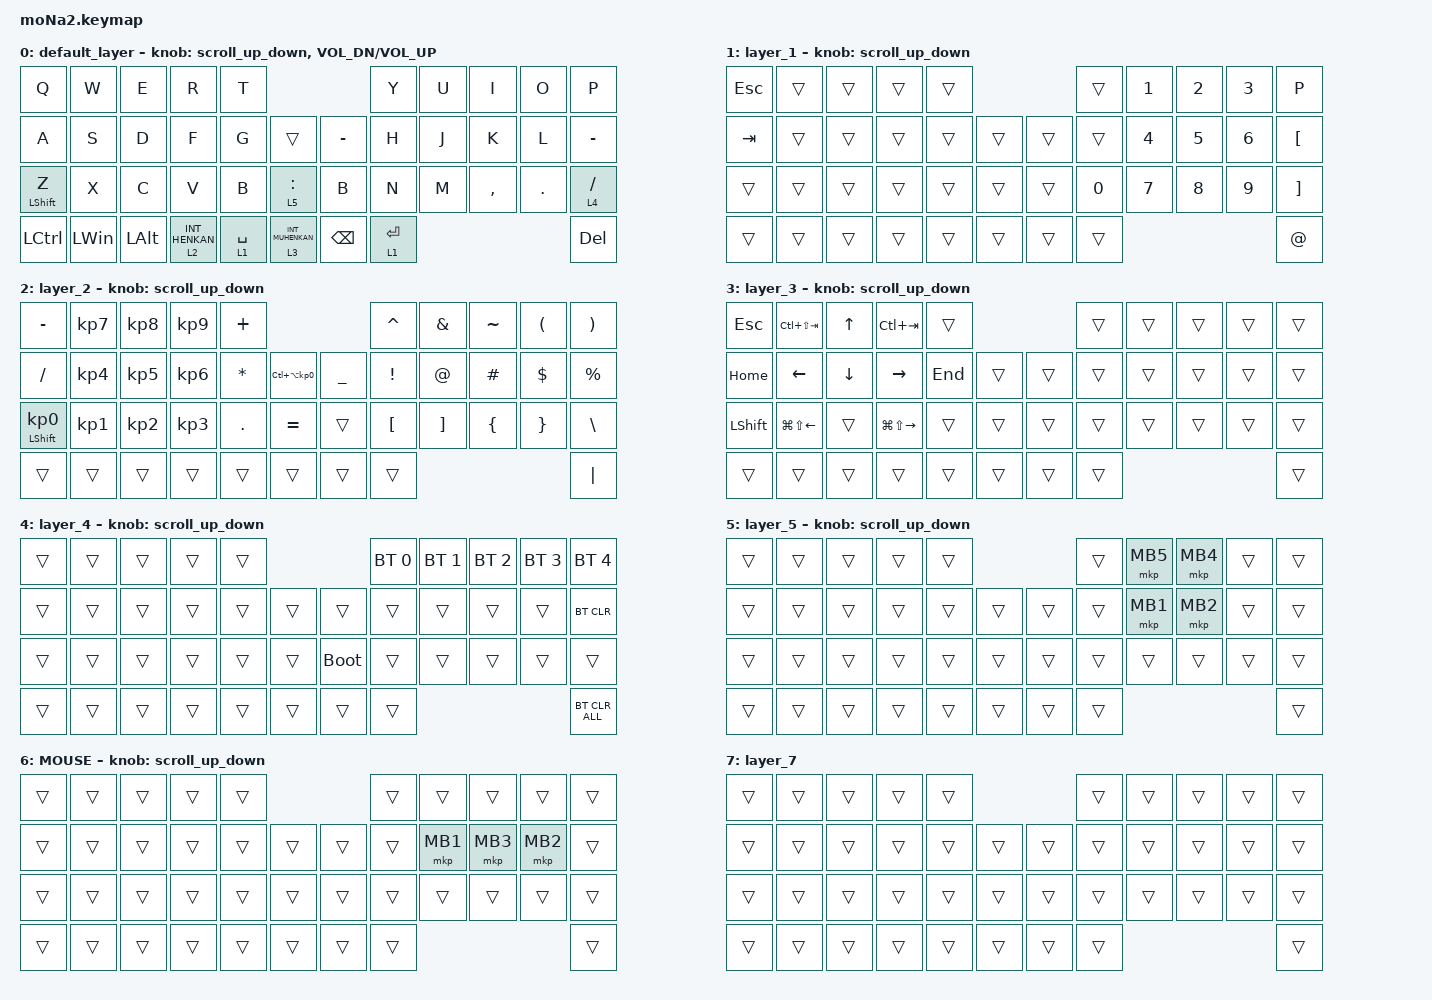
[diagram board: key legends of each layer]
#include <behaviors.dtsi>
#include <dt-bindings/zmk/bt.h>
#include <dt-bindings/zmk/keys.h>
#include <dt-bindings/zmk/pointing.h>

#define ZMK_POINTING_DEFAULT_SCRL_VAL 100
#define MOUSE 6

&mt {
    flavor = "balanced";
    quick-tap-ms = <0>;
};

/ {
    combos { compatible = "zmk,combos"; };

    macros {
        to_layer_0: to_layer_0 {
            compatible = "zmk,behavior-macro-one-param";
            #binding-cells = <1>;
            bindings = <&to 0 &macro_param_1to1 &kp MACRO_PLACEHOLDER>;
            label = "TO_LAYER_0";
        };

        atmark: atmark {
            compatible = "zmk,behavior-macro";
            #binding-cells = <0>;
            bindings = <&kp LANGUAGE_2 &kp AT>;
            label = "ATMARK";
        };

        kagikakko: kagikakko {
            compatible = "zmk,behavior-macro";
            #binding-cells = <0>;
            bindings = <&kp LANGUAGE_1 &kp LBKT &kp RBKT &kp RET &kp LEFT>;
            label = "KAGIKAKKO";
        };

        marukakko: marukakko {
            compatible = "zmk,behavior-macro";
            #binding-cells = <0>;
            bindings = <&kp LANGUAGE_1 &kp LS(NUMBER_9) &kp LS(NUMBER_0) &kp ENTER &kp LEFT>;
            label = "MARUKAKKO";
        };
    };

    behaviors {
        lt_to_layer_0: lt_to_layer_0 {
            compatible = "zmk,behavior-hold-tap";
            label = "LAYER_TAP_TO_0";
            bindings = <&mo>, <&to_layer_0>;

            #binding-cells = <2>;
            tapping-term-ms = <200>;
        };

        scroll_up_down: behavior_sensor_rotate_mouse_wheel_up_down {
            compatible = "zmk,behavior-sensor-rotate";
            #sensor-binding-cells = <0>;
            bindings = <&msc SCRL_UP>, <&msc SCRL_DOWN>;

            tap-ms = <20>;
        };
    };

    keymap {
        compatible = "zmk,keymap";

        default_layer {
            bindings = <
&kp Q             &kp W         &kp E         &kp R             &kp T                                             &kp Y        &kp U  &kp I      &kp O    &kp P
&kp A             &kp S         &kp D         &kp F             &kp G        &trans                &kp MINUS      &kp H        &kp J  &kp K      &kp L    &kp MINUS
&mt LEFT_SHIFT Z  &kp X         &kp C         &kp V             &kp B        &lt 5 COLON           &kp B          &kp N        &kp M  &kp COMMA  &kp DOT  &lt 4 SLASH
&kp LCTRL         &kp LEFT_WIN  &kp LEFT_ALT  &lt 2 INT_HENKAN  &lt 1 SPACE  &lt 3 INT_MUHENKAN    &kp BACKSPACE  &lt 1 ENTER                             &kp DEL
            >;

            sensor-bindings =
                <&scroll_up_down>,
                <&inc_dec_kp C_VOL_DN C_VOL_UP>;
        };

        layer_1 {
            bindings = <
&kp ESCAPE  &trans  &trans  &trans  &trans                    &trans  &kp NUMBER_1  &kp NUMBER_2  &kp NUMBER_3  &kp P
&kp TAB     &trans  &trans  &trans  &trans  &trans    &trans  &trans  &kp NUMBER_4  &kp N5        &kp NUMBER_6  &kp LEFT_BRACKET
&trans      &trans  &trans  &trans  &trans  &trans    &trans  &kp N0  &kp N7        &kp N8        &kp N9        &kp RIGHT_BRACKET
&trans      &trans  &trans  &trans  &trans  &trans    &trans  &trans                                            &kp AT_SIGN
            >;

            sensor-bindings = <&scroll_up_down>;
        };

        layer_2 {
            bindings = <
&kp MINUS                   &kp KP_NUMBER_7  &kp KP_NUMBER_8  &kp KP_NUMBER_9  &kp PLUS                                                 &kp CARET         &kp AMPERSAND      &kp TILDE       &kp LEFT_PARENTHESIS  &kp RIGHT_PARENTHESIS
&kp SLASH                   &kp KP_NUMBER_4  &kp KP_NUMBER_5  &kp KP_NUMBER_6  &kp ASTERISK  &kp LC(LA(KP_NUMBER_0))    &kp UNDERSCORE  &kp EXCLAMATION   &kp AT_SIGN        &kp HASH        &kp DOLLAR            &kp PERCENT
&mt LEFT_SHIFT KP_NUMBER_0  &kp KP_NUMBER_1  &kp KP_NUMBER_2  &kp KP_NUMBER_3  &kp PERIOD    &kp EQUAL                  &trans          &kp LEFT_BRACKET  &kp RIGHT_BRACKET  &kp LEFT_BRACE  &kp RIGHT_BRACE       &kp BACKSLASH
&trans                      &trans           &trans           &trans           &trans        &trans                     &trans          &trans                                                                     &kp PIPE
            >;

            sensor-bindings = <&scroll_up_down>;
        };

        layer_3 {
            bindings = <
&kp ESCAPE      &kp LC(LS(TAB))         &kp UP_ARROW    &kp LC(TAB)              &trans                     &trans  &trans  &trans  &trans  &trans
&kp HOME        &kp LEFT_ARROW          &kp DOWN_ARROW  &kp RIGHT_ARROW          &kp END  &trans    &trans  &trans  &trans  &trans  &trans  &trans
&kp LEFT_SHIFT  &kp LG(LS(LEFT_ARROW))  &trans          &kp LG(LS(RIGHT_ARROW))  &trans   &trans    &trans  &trans  &trans  &trans  &trans  &trans
&trans          &trans                  &trans          &trans                   &trans   &trans    &trans  &trans                          &trans
            >;

            sensor-bindings = <&scroll_up_down>;
        };

        layer_4 {
            bindings = <
&trans  &trans  &trans  &trans  &trans                         &bt BT_SEL 0  &bt BT_SEL 1  &bt BT_SEL 2  &bt BT_SEL 3  &bt BT_SEL 4
&trans  &trans  &trans  &trans  &trans  &trans    &trans       &trans        &trans        &trans        &trans        &bt BT_CLR
&trans  &trans  &trans  &trans  &trans  &trans    &bootloader  &trans        &trans        &trans        &trans        &trans
&trans  &trans  &trans  &trans  &trans  &trans    &trans       &trans                                                  &bt BT_CLR_ALL
            >;

            sensor-bindings = <&scroll_up_down>;
        };

        layer_5 {
            bindings = <
&trans  &trans  &trans  &trans  &trans                    &trans  &mkp MB5  &mkp MB4  &trans  &trans
&trans  &trans  &trans  &trans  &trans  &trans    &trans  &trans  &mkp MB1  &mkp MB2  &trans  &trans
&trans  &trans  &trans  &trans  &trans  &trans    &trans  &trans  &trans    &trans    &trans  &trans
&trans  &trans  &trans  &trans  &trans  &trans    &trans  &trans                              &trans
            >;

            sensor-bindings = <&scroll_up_down>;
        };

        MOUSE {
            bindings = <
&trans  &trans  &trans  &trans  &trans                    &trans  &trans    &trans    &trans    &trans
&trans  &trans  &trans  &trans  &trans  &trans    &trans  &trans  &mkp MB1  &mkp MB3  &mkp MB2  &trans
&trans  &trans  &trans  &trans  &trans  &trans    &trans  &trans  &trans    &trans    &trans    &trans
&trans  &trans  &trans  &trans  &trans  &trans    &trans  &trans                                &trans
            >;

            sensor-bindings = <&scroll_up_down>;
        };

        layer_7 {
            bindings = <
&trans  &trans  &trans  &trans  &trans                    &trans  &trans  &trans  &trans  &trans
&trans  &trans  &trans  &trans  &trans  &trans    &trans  &trans  &trans  &trans  &trans  &trans
&trans  &trans  &trans  &trans  &trans  &trans    &trans  &trans  &trans  &trans  &trans  &trans
&trans  &trans  &trans  &trans  &trans  &trans    &trans  &trans                          &trans
            >;
        };
    };
};
